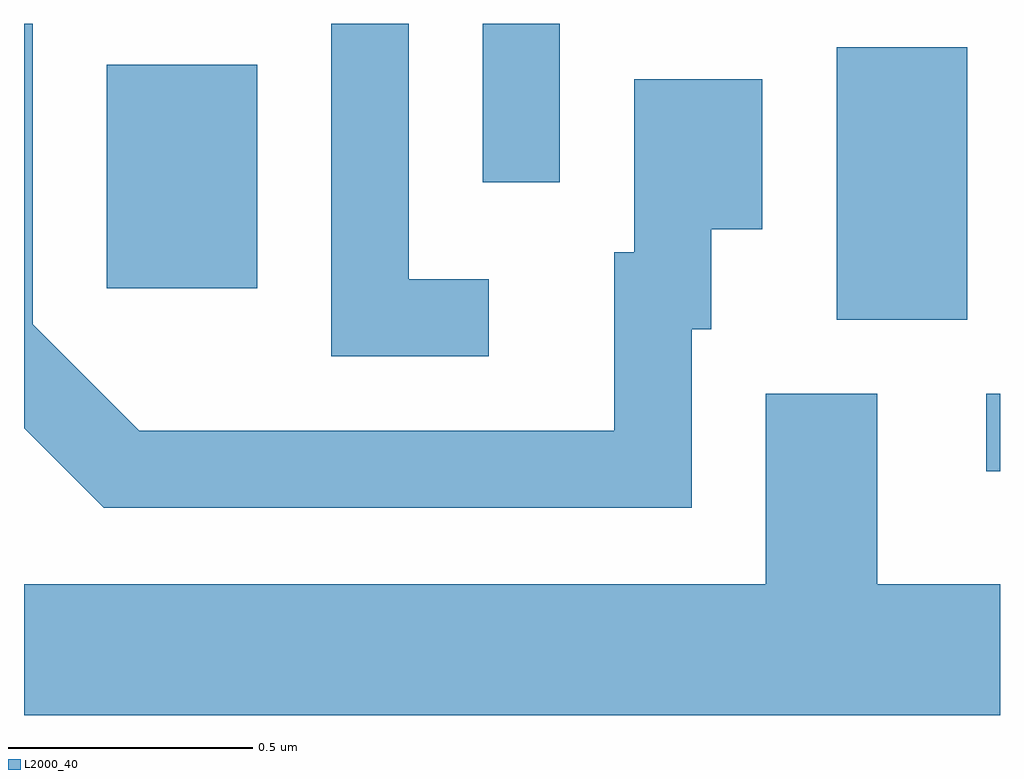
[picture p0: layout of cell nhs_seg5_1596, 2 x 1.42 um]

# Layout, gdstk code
import gdstk
lib = gdstk.Library(unit=1e-6, precision=1e-09)
def R(c, l, rs):  # rectangles x0, y0, x1, y1
    for r in rs: c.add(gdstk.rectangle(r[:2], r[2:], *l))
def P(c, l, *ps):  # polygons
    for p in ps: c.add(gdstk.Polygon(p, *l))
L2000_40 = (2000, 40)

nhs_seg5_1596 = lib.new_cell('nhs_seg5_1596')
R(nhs_seg5_1596, L2000_40, [(198.583,1486.156,198.611,1486.314), (198.276,1486.466,198.544,1487.024), (196.781,1486.531,197.089,1486.989), (197.551,1486.748,197.709,1487.072)])
P(nhs_seg5_1596, L2000_40, [(197.979,1486.446),(198.019,1486.446),(198.019,1486.651),(198.124,1486.651),(198.124,1486.959),(197.861,1486.959),(197.861,1486.604),(197.821,1486.604),(197.821,1486.239),(196.847,1486.239),(196.629,1486.457),(196.629,1487.072),(196.611,1487.072),(196.611,1486.244),(196.774,1486.081),(197.979,1486.081)],
  [(197.563,1486.549),(197.399,1486.549),(197.399,1487.072),(197.241,1487.072),(197.241,1486.391),(197.563,1486.391)],
  [(198.611,1485.924),(198.359,1485.924),(198.359,1486.314),(198.131,1486.314),(198.131,1485.924),(196.611,1485.924),(196.611,1485.656),(198.611,1485.656)])

lib.write_gds('nhs_seg5_1596.gds')
